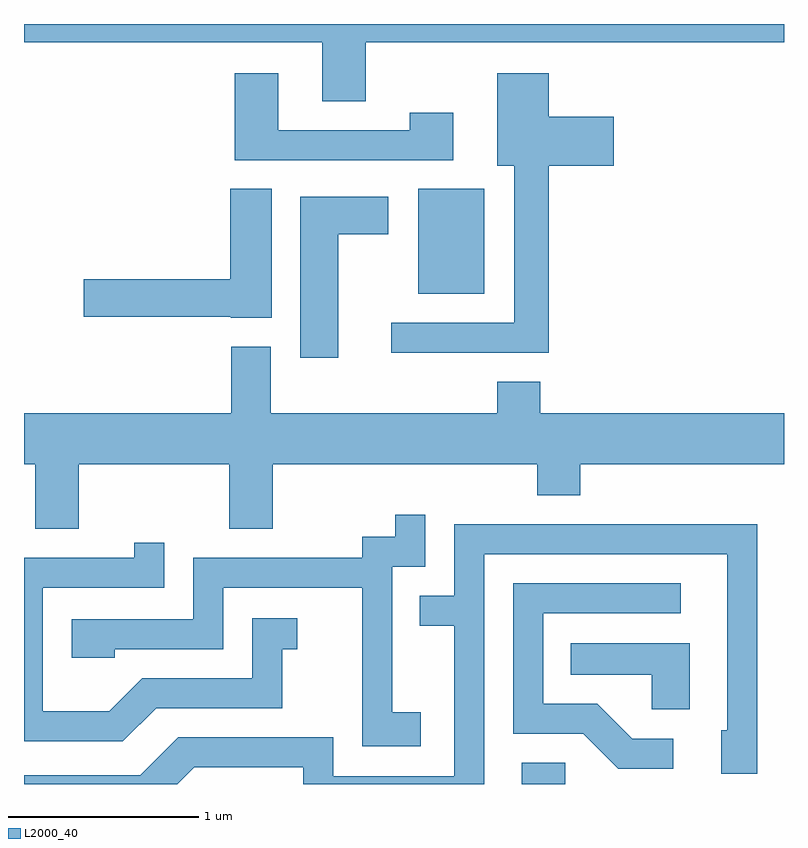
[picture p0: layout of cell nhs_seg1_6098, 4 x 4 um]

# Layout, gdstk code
import gdstk
lib = gdstk.Library(unit=1e-6, precision=1e-09)
def R(c, l, rs):  # rectangles x0, y0, x1, y1
    for r in rs: c.add(gdstk.rectangle(r[:2], r[2:], *l))
def P(c, l, *ps):  # polygons
    for p in ps: c.add(gdstk.Polygon(p, *l))
L2000_40 = (2000, 40)

nhs_seg1_6098 = lib.new_cell('nhs_seg1_6098')
R(nhs_seg1_6098, L2000_40, [(372.231,855.712,372.459,855.824), (371.686,858.291,372.034,858.844)])
P(nhs_seg1_6098, L2000_40, [(371.409,859.616),(373.611,859.616),(373.611,859.712),(369.611,859.712),(369.611,859.616),(371.181,859.616),(371.181,859.306),(371.409,859.306)],
  [(371.869,859.244),(371.641,859.244),(371.641,859.154),(370.949,859.154),(370.949,859.454),(370.721,859.454),(370.721,858.996),(371.869,858.996)],
  [(372.374,858.966),(372.714,858.966),(372.714,859.224),(372.374,859.224),(372.374,859.454),(372.101,859.454),(372.101,858.966),(372.191,858.966),(372.191,858.139),(371.543,858.139),(371.543,857.981),(372.374,857.981)],
  [(370.914,858.844),(370.696,858.844),(370.696,858.369),(369.926,858.369),(369.926,858.171),(370.7,858.171),(370.7,858.166),(370.914,858.166)],
  [(371.264,858.606),(371.529,858.606),(371.529,858.804),(371.066,858.804),(371.066,857.956),(371.264,857.956)],
  [(369.899,857.396),(370.691,857.396),(370.691,857.056),(370.919,857.056),(370.919,857.396),(372.311,857.396),(372.311,857.231),(372.539,857.231),(372.539,857.396),(373.611,857.396),(373.611,857.664),(372.329,857.664),(372.329,857.829),(372.101,857.829),(372.101,857.664),(370.909,857.664),(370.909,858.014),(370.701,858.014),(370.701,857.664),(369.611,857.664),(369.611,857.396),(369.671,857.396),(369.671,857.056),(369.899,857.056)],
  [(371.699,856.089),(371.549,856.089),(371.549,856.856),(371.724,856.856),(371.724,857.128),(371.566,857.128),(371.566,857.014),(371.391,857.014),(371.391,856.904),(370.501,856.904),(370.501,856.579),(369.861,856.579),(369.861,856.376),(370.089,856.376),(370.089,856.421),(370.659,856.421),(370.659,856.746),(371.391,856.746),(371.391,855.911),(371.699,855.911)],
  [(370.507,855.801),(371.081,855.801),(371.081,855.712),(372.034,855.712),(372.034,856.921),(373.311,856.921),(373.311,855.994),(373.281,855.994),(373.281,855.766),(373.469,855.766),(373.469,857.079),(371.876,857.079),(371.876,856.704),(371.693,856.704),(371.693,856.546),(371.876,856.546),(371.876,855.754),(371.239,855.754),(371.239,855.959),(370.424,855.959),(370.224,855.759),(369.611,855.759),(369.611,855.712),(370.418,855.712)],
  [(370.307,856.111),(370.969,856.111),(370.969,856.421),(371.048,856.421),(371.048,856.584),(370.811,856.584),(370.811,856.269),(370.234,856.269),(370.059,856.094),(369.709,856.094),(369.709,856.746),(370.349,856.746),(370.349,856.983),(370.191,856.983),(370.191,856.904),(369.611,856.904),(369.611,855.936),(370.132,855.936)],
  [(373.028,855.949),(372.812,855.949),(372.627,856.134),(372.344,856.134),(372.344,856.611),(373.068,856.611),(373.068,856.769),(372.186,856.769),(372.186,855.976),(372.554,855.976),(372.739,855.791),(373.028,855.791)],
  [(373.114,856.454),(372.488,856.454),(372.488,856.286),(372.916,856.286),(372.916,856.106),(373.114,856.106)])

lib.write_gds('nhs_seg1_6098.gds')
